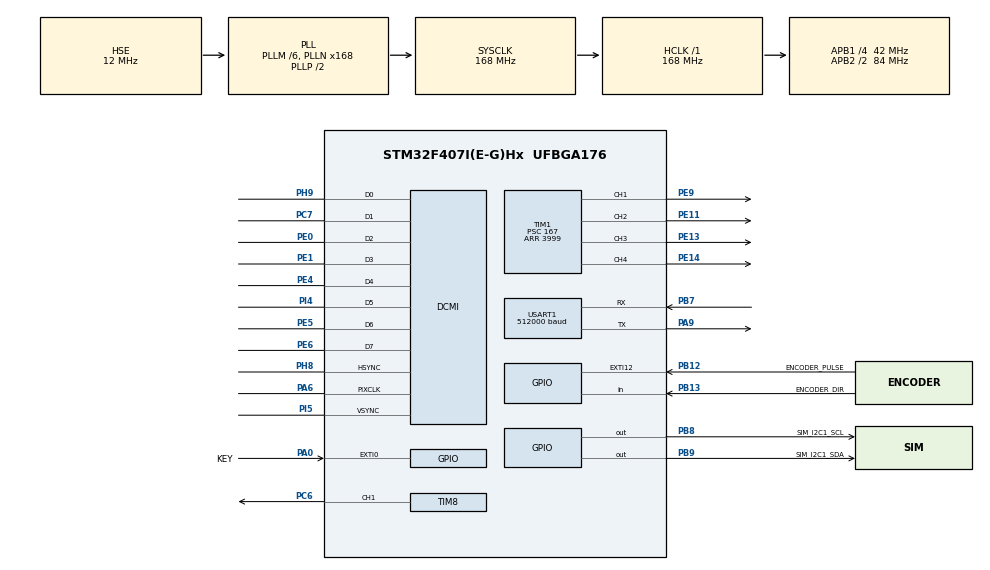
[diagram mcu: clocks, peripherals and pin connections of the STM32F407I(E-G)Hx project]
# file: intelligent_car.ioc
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Dma.DCMI.0.Direction=DMA_PERIPH_TO_MEMORY
Dma.DCMI.0.FIFOMode=DMA_FIFOMODE_ENABLE
Dma.DCMI.0.FIFOThreshold=DMA_FIFO_THRESHOLD_FULL
Dma.DCMI.0.Instance=DMA2_Stream1
Dma.DCMI.0.MemBurst=DMA_MBURST_SINGLE
Dma.DCMI.0.MemDataAlignment=DMA_MDATAALIGN_WORD
Dma.DCMI.0.MemInc=DMA_MINC_ENABLE
Dma.DCMI.0.Mode=DMA_CIRCULAR
Dma.DCMI.0.PeriphBurst=DMA_PBURST_SINGLE
Dma.DCMI.0.PeriphDataAlignment=DMA_PDATAALIGN_WORD
Dma.DCMI.0.PeriphInc=DMA_PINC_DISABLE
Dma.DCMI.0.Priority=DMA_PRIORITY_VERY_HIGH
Dma.Request0=DCMI
Dma.Request1=USART1_TX
Dma.USART1_TX.1.Direction=DMA_MEMORY_TO_PERIPH
Dma.USART1_TX.1.FIFOMode=DMA_FIFOMODE_DISABLE
Dma.USART1_TX.1.Instance=DMA2_Stream7
Dma.USART1_TX.1.MemDataAlignment=DMA_MDATAALIGN_BYTE
Dma.USART1_TX.1.MemInc=DMA_MINC_ENABLE
Dma.USART1_TX.1.Mode=DMA_NORMAL
Dma.USART1_TX.1.PeriphDataAlignment=DMA_PDATAALIGN_BYTE
Dma.USART1_TX.1.PeriphInc=DMA_PINC_DISABLE
Dma.USART1_TX.1.Priority=DMA_PRIORITY_MEDIUM
Mcu.Family=STM32F4
Mcu.Name=STM32F407I(E-G)Hx
Mcu.Package=UFBGA176
NVIC.DCMI_IRQn=true\:0\:0\:false\:false\:true\:true\:true\:true
NVIC.DMA2_Stream1_IRQn=true\:0\:0\:false\:false\:true\:false\:true\:true
NVIC.DMA2_Stream7_IRQn=true\:0\:0\:false\:false\:true\:false\:true\:true
NVIC.EXTI0_IRQn=true\:0\:0\:false\:false\:true\:true\:true\:true
NVIC.EXTI15_10_IRQn=true\:0\:0\:false\:false\:true\:true\:true\:true
NVIC.PriorityGroup=NVIC_PRIORITYGROUP_4
NVIC.TIM2_IRQn=true\:0\:0\:false\:false\:true\:true\:true\:true
NVIC.TIM3_IRQn=true\:0\:0\:false\:false\:true\:true\:true\:true
NVIC.USART1_IRQn=true\:1\:0\:true\:false\:true\:true\:true\:true
PA0-WKUP.GPIO_Label=KEY
PA0-WKUP.GPIO_ModeDefaultEXTI=GPIO_MODE_IT_FALLING
PA0-WKUP.GPIO_PuPd=GPIO_PULLUP
PA0-WKUP.Signal=GPXTI0
PA13.Mode=Serial_Wire
PA13.Signal=SYS_JTMS-SWDIO
PA14.Mode=Serial_Wire
PA14.Signal=SYS_JTCK-SWCLK
PA6.Mode=Slave_8_bits_External_Synchro
PA6.Signal=DCMI_PIXCLK
PA9.Mode=Asynchronous
PA9.Signal=USART1_TX
PB12.GPIO_Label=ENCODER_PULSE
PB12.GPIO_PuPd=GPIO_PULLDOWN
PB12.Signal=GPXTI12
PB13.GPIO_Label=ENCODER_DIR
PB13.GPIO_PuPd=GPIO_PULLDOWN
PB13.Signal=GPIO_Input
PB7.Mode=Asynchronous
PB7.Signal=USART1_RX
PB8.GPIO_Label=SIM_I2C1_SCL
PB8.GPIO_PuPd=GPIO_PULLUP
PB8.GPIO_Speed=GPIO_SPEED_FREQ_HIGH
PB8.Signal=GPIO_Output
PB9.GPIO_Label=SIM_I2C1_SDA
PB9.GPIO_ModeDefaultOutputPP=GPIO_MODE_OUTPUT_OD
PB9.GPIO_PuPd=GPIO_PULLUP
PB9.GPIO_Speed=GPIO_SPEED_FREQ_HIGH
PB9.Signal=GPIO_Output
PC6.Signal=S_TIM8_CH1
PC7.Mode=Slave_8_bits_External_Synchro
PC7.Signal=DCMI_D1
PE0.Mode=Slave_8_bits_External_Synchro
PE0.Signal=DCMI_D2
PE1.Mode=Slave_8_bits_External_Synchro
PE1.Signal=DCMI_D3
PE11.GPIO_PuPd=GPIO_PULLDOWN
PE11.Signal=S_TIM1_CH2
PE13.GPIO_PuPd=GPIO_PULLDOWN
PE13.Signal=S_TIM1_CH3
PE14.GPIO_PuPd=GPIO_PULLDOWN
PE14.Signal=S_TIM1_CH4
PE4.Mode=Slave_8_bits_External_Synchro
PE4.Signal=DCMI_D4
PE5.Mode=Slave_8_bits_External_Synchro
PE5.Signal=DCMI_D6
PE6.Mode=Slave_8_bits_External_Synchro
PE6.Signal=DCMI_D7
PE9.GPIO_PuPd=GPIO_PULLDOWN
PE9.Signal=S_TIM1_CH1
PH0-OSC_IN.Mode=HSE-External-Oscillator
PH0-OSC_IN.Signal=RCC_OSC_IN
PH1-OSC_OUT.Mode=HSE-External-Oscillator
PH1-OSC_OUT.Signal=RCC_OSC_OUT
PH8.Mode=Slave_8_bits_External_Synchro
PH8.Signal=DCMI_HSYNC
PH9.Mode=Slave_8_bits_External_Synchro
PH9.Signal=DCMI_D0
PI4.Mode=Slave_8_bits_External_Synchro
PI4.Signal=DCMI_D5
PI5.Mode=Slave_8_bits_External_Synchro
PI5.Signal=DCMI_VSYNC
ProjectManager.HeapSize=0x200
ProjectManager.StackSize=0x400
ProjectManager.TargetToolchain=Makefile
RCC.48MHZClocksFreq_Value=84000000
RCC.AHBFreq_Value=168000000
RCC.APB1CLKDivider=RCC_HCLK_DIV4
RCC.APB1Freq_Value=42000000
RCC.APB1TimFreq_Value=84000000
RCC.APB2CLKDivider=RCC_HCLK_DIV2
RCC.APB2Freq_Value=84000000
RCC.APB2TimFreq_Value=168000000
RCC.CortexFreq_Value=168000000
RCC.HCLKFreq_Value=168000000
RCC.HSE_VALUE=12000000
RCC.HSI_VALUE=16000000
RCC.LSE_VALUE=32768
RCC.PLLM=6
RCC.PLLN=168
RCC.PLLSourceVirtual=RCC_PLLSOURCE_HSE
RCC.SYSCLKFreq_VALUE=168000000
RCC.SYSCLKSource=RCC_SYSCLKSOURCE_PLLCLK
RCC.VCOOutputFreq_Value=336000000
SH.S_TIM1_CH1.0=TIM1_CH1,PWM Generation1 CH1
SH.S_TIM1_CH2.0=TIM1_CH2,PWM Generation2 CH2
SH.S_TIM1_CH3.0=TIM1_CH3,PWM Generation3 CH3
SH.S_TIM1_CH4.0=TIM1_CH4,PWM Generation4 CH4
SH.S_TIM8_CH1.0=TIM8_CH1,PWM Generation1 CH1
TIM1.AutoReloadPreload=TIM_AUTORELOAD_PRELOAD_ENABLE
TIM1.Channel-PWM\ Generation1\ CH1=TIM_CHANNEL_1
TIM1.Channel-PWM\ Generation2\ CH2=TIM_CHANNEL_2
TIM1.Channel-PWM\ Generation3\ CH3=TIM_CHANNEL_3
TIM1.Channel-PWM\ Generation4\ CH4=TIM_CHANNEL_4
TIM1.Period=3999
TIM1.Prescaler=167
TIM1.Pulse-PWM\ Generation1\ CH1=1499
TIM1.Pulse-PWM\ Generation2\ CH2=1999
TIM1.Pulse-PWM\ Generation3\ CH3=999
TIM1.Pulse-PWM\ Generation4\ CH4=1499
TIM2.AutoReloadPreload=TIM_AUTORELOAD_PRELOAD_ENABLE
TIM2.Period=19999
TIM2.Prescaler=167
TIM3.AutoReloadPreload=TIM_AUTORELOAD_PRELOAD_ENABLE
TIM3.Period=4999
TIM3.Prescaler=167
TIM8.AutoReloadPreload=TIM_AUTORELOAD_PRELOAD_ENABLE
TIM8.Channel-PWM\ Generation1\ CH1=TIM_CHANNEL_1
TIM8.Period=99
TIM8.Prescaler=167
TIM8.Pulse-PWM\ Generation1\ CH1=7
USART1.BaudRate=512000
USART1.VirtualMode=VM_ASYNC
VP_TIM1_VS_ClockSourceINT.Mode=Internal
VP_TIM2_VS_ClockSourceINT.Mode=Internal
VP_TIM3_VS_ClockSourceINT.Mode=Internal
VP_TIM8_VS_ClockSourceINT.Mode=Internal
board=custom

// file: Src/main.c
/* USER CODE BEGIN Header */
/**
  ******************************************************************************
  * @file           : main.c
  * @brief          : Main program body
  ******************************************************************************
  * @attention
  *
  * Copyright (c) 2023 STMicroelectronics.
  * All rights reserved.
  *
  * This software is licensed under terms that can be found in the LICENSE file
  * in the root directory of this software component.
  * If no LICENSE file comes with this software, it is provided AS-IS.
  *
  ******************************************************************************
  */
/* USER CODE END Header */
#include "main.h"
#include "dcmi.h"
#include "dma.h"
#include "tim.h"
#include "usart.h"
#include "gpio.h"

/* USER CODE BEGIN Includes */
#include "log.h"
#include "SEEKFREE_MT9V03X.h"
#include "image.h"
#include "pid.h"
/* USER CODE END Includes */

void SystemClock_Config(void);

int main(void)
{

  /* MCU Configuration--------------------------------------------------------*/

  /* Reset of all peripherals, Initializes the Flash interface and the Systick. */
  HAL_Init();

  /* Configure the system clock */
  SystemClock_Config();

  /* Initialize all configured peripherals */
  MX_GPIO_Init();
  MX_DMA_Init();
  MX_TIM1_Init();
  MX_DCMI_Init();
  MX_USART1_UART_Init();
  MX_TIM2_Init();
  MX_TIM3_Init();
  MX_TIM8_Init();
  /* USER CODE BEGIN 2 */
  HAL_TIM_PWM_Start(&htim1, TIM_CHANNEL_1);
  HAL_TIM_PWM_Start(&htim1, TIM_CHANNEL_2);
  HAL_TIM_PWM_Start(&htim1, TIM_CHANNEL_3);
  HAL_TIM_PWM_Start(&htim1, TIM_CHANNEL_4);
  HAL_TIM_Base_Start_IT(&htim2);
  HAL_TIM_Base_Start_IT(&htim3);
  HAL_TIM_PWM_Start(&htim8, TIM_CHANNEL_1);
  PID_Init(&angle_pid, 10.0f, 0.0f, 5.0f, 0.0f, 500.0f);
  PID_Init(&speed_pid, 0.4f, 0.2f, 0.0f, 10.0f, 10.0f);
  while(mt9v03x_init())
  {

  }
  /* USER CODE END 2 */

  /* Infinite loop */
  /* USER CODE BEGIN WHILE */
  while (1)
  {
    if(mt9v03x_finish_flag == 1)
    {
      image_process();
      seekfree_sendimg_mt9v03x(&huart1, bin_image, IMAGE_SIZE);
      mt9v03x_finish_flag = 0;
    }
    /* USER CODE END WHILE */

  }
}

void SystemClock_Config(void)
{
  RCC_OscInitTypeDef RCC_OscInitStruct = {0};
  RCC_ClkInitTypeDef RCC_ClkInitStruct = {0};

  /** Configure the main internal regulator output voltage
  */
  __HAL_RCC_PWR_CLK_ENABLE();
  __HAL_PWR_VOLTAGESCALING_CONFIG(PWR_REGULATOR_VOLTAGE_SCALE1);

  /** Initializes the RCC Oscillators according to the specified parameters
  * in the RCC_OscInitTypeDef structure.
  */
  RCC_OscInitStruct.OscillatorType = RCC_OSCILLATORTYPE_HSE;
  RCC_OscInitStruct.HSEState = RCC_HSE_ON;
  RCC_OscInitStruct.PLL.PLLState = RCC_PLL_ON;
  RCC_OscInitStruct.PLL.PLLSource = RCC_PLLSOURCE_HSE;
  RCC_OscInitStruct.PLL.PLLM = 6;
  RCC_OscInitStruct.PLL.PLLN = 168;
  RCC_OscInitStruct.PLL.PLLP = RCC_PLLP_DIV2;
  RCC_OscInitStruct.PLL.PLLQ = 4;
  if (HAL_RCC_OscConfig(&RCC_OscInitStruct) != HAL_OK)
  {
    Error_Handler();
  }

  /** Initializes the CPU, AHB and APB buses clocks
  */
  RCC_ClkInitStruct.ClockType = RCC_CLOCKTYPE_HCLK|RCC_CLOCKTYPE_SYSCLK
                              |RCC_CLOCKTYPE_PCLK1|RCC_CLOCKTYPE_PCLK2;
  RCC_ClkInitStruct.SYSCLKSource = RCC_SYSCLKSOURCE_PLLCLK;
  RCC_ClkInitStruct.AHBCLKDivider = RCC_SYSCLK_DIV1;
  RCC_ClkInitStruct.APB1CLKDivider = RCC_HCLK_DIV4;
  RCC_ClkInitStruct.APB2CLKDivider = RCC_HCLK_DIV2;

  if (HAL_RCC_ClockConfig(&RCC_ClkInitStruct, FLASH_LATENCY_5) != HAL_OK)
  {
    Error_Handler();
  }
}

void Error_Handler(void)
{
  __disable_irq();
  while (1)
  {
  }
}
